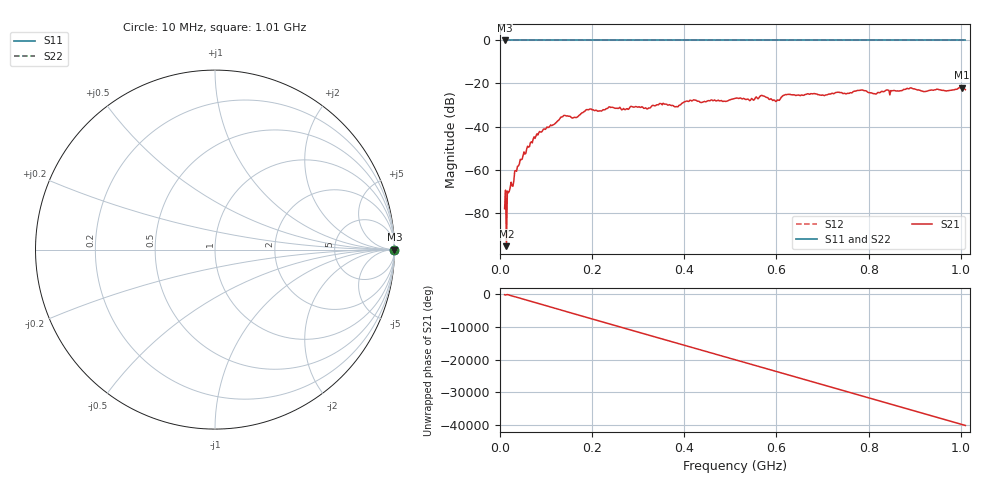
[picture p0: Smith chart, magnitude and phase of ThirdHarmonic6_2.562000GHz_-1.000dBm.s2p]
! 8/17/2025 5:18:33 AM
! C:\ANRITSUVNA\TEMP\TEMP.S2P
! CHANNEL.1
! TR.MEASUREMENT
! RAW.DATA
! RF.CORRECTION.OFF
! AVERAGING.OFF
! IF.BANDWIDTH: 5KHZ
! SWEEPTYPE:  FREQ.SWEEP(Linear)
! Reference Plane Port Info
! PORT:  PORT1  PORT2
! DISTANCE:  0  m  0  m
! TIME:  0  s  0  s
! PHASE.OFFSET:  0  deg.  0  deg.
! LOSS:  0  dB  0  dB
! REF.LOSS:  0  dB  0  dB
! REF.FREQ:  0  Hz  0  Hz
! Power Info
! POWER:  -20  dBm  -20  dBm
! EFF.POWER:  -20  dBm  -20  dBm
! SOURCE.ATTEN:  0  dB  0  dB
! TEST.ATTEN:  0  dB  0  dB
# GHZ S RI R 50.0
! FREQ.GHZ  S11RE  S11IM  S21RE  S21IM  S12RE  S12IM  S22RE  S22IM
!; PortSelection: Port_12
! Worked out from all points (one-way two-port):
!   501 points, 10 MHz to 1.01 GHz, reference 50 ohm
!   highest |S21| = -21.94 dB at 1.002 GHz (marker M1); lowest = -95.6 dB at 14 MHz (marker M2)
!   lowest |S11| = 0.0 dB at 10 MHz (marker M3)
!   |S11| at or under -10 dB: nowhere
!   |S22| runs from 0.0 to 0.0 dB; largest |S21 - S12| = 1.1
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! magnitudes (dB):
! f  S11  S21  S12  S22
! 10 MHz  0.0  -78.2  0.0  0.0
! 14 MHz  0.0  -95.6  0.0  0.0
! 36 MHz  0.0  -60.8  0.0  0.0
! 76 MHz  0.0  -45.5  0.0  0.0
! 136 MHz  0.0  -35.5  0.0  0.0
! 162 MHz  0.0  -35.7  0.0  0.0
! 178 MHz  0.0  -33.6  0.0  0.0
! 240 MHz  0.0  -31.1  0.0  0.0
! 322 MHz  0.0  -31.4  0.0  0.0
! 344 MHz  0.0  -29.9  0.0  0.0
! 382 MHz  0.0  -30.7  0.0  0.0
! 416 MHz  0.0  -28.1  0.0  0.0
! 488 MHz  0.0  -28.3  0.0  0.0
! 510 MHz  0.0  -26.9  0.0  0.0
! 546 MHz  0.0  -27.0  0.0  0.0
! 570 MHz  0.0  -25.7  0.0  0.0
! 602 MHz  0.0  -27.6  0.0  0.0
! 622 MHz  0.0  -25.2  0.0  0.0
! 678 MHz  0.0  -24.8  0.0  0.0
! 844 MHz  0.0  -23.2  0.0  0.0
! 1.002 GHz  0.0  -21.9  0.0  0.0
! 1.01 GHz  0.0  -22.9  0.0  0.0
